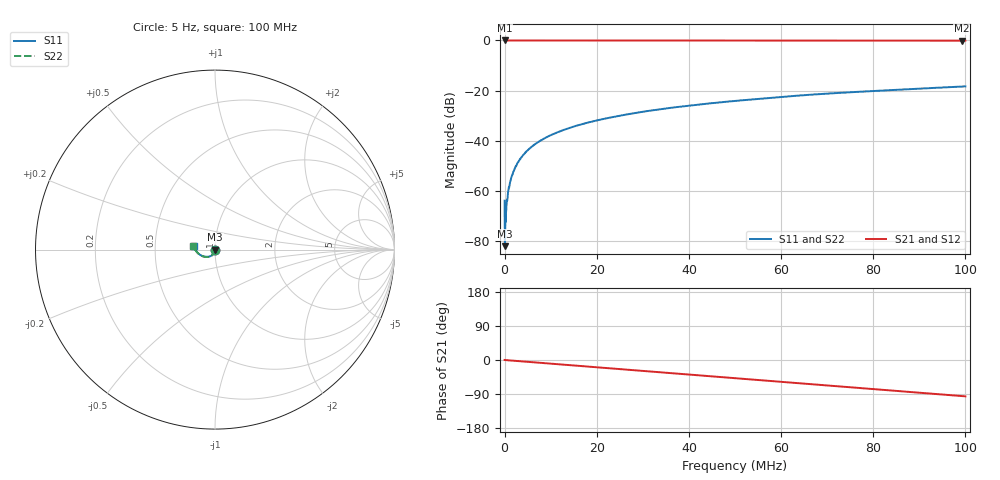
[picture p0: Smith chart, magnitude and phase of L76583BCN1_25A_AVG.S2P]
!Agilent Technologies,E5061B,MY49102235,A.02.00
!Date: Mon Jul 10 16:14:26 2023
!Data & Calibration Information:
!Freq	S11:SOLT2(ON)	S21:SOLT2(ON)	S12:SOLT2(ON)	S22:SOLT2(ON)
# Hz S RI R 50
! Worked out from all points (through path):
!   1600 points, 5 Hz to 100 MHz, reference 50 ohm
!   highest |S21| = 0.02 dB at 5 Hz (marker M1); lowest = -0.1 dB at 99.25 MHz (marker M2)
!   group delay of S21, straight-line fit = 2.66 ns
!   lowest |S11| = -82.0 dB at 62.54 kHz (marker M3), VSWR 1.00, Z = 50 - j0.00361 ohm
!   |S11| at or under -10 dB: start of sweep to end of sweep
!   |S22| runs from -78.2 to -18.3 dB; largest |S21 - S12| = 0.0027
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5  -0.000468 0.000441  1.002 0.00231  1 -2.65e-05  -0.000151 -5.07e-05
62544.08  -7.07e-05 -3.61e-05  1 -0.000989  1 -0.000711  1.75e-05 -0.000122
250161.3  3.48e-05 -0.000241  0.9998 -0.00436  0.9998 -0.00419  3.15e-05 -0.000258
562856.8  0.000103 -0.000628  0.9997 -0.00966  0.9997 -0.00915  6.36e-05 -0.000693
687934.9  2.09e-06 -0.000857  1 -0.0114  1 -0.0116  -2.29e-05 -0.000816
875552.2  -6.45e-05 -0.00113  0.9998 -0.0148  1 -0.0148  -5.29e-05 -0.00111
1063169  -6.17e-05 -0.00128  1 -0.0178  1 -0.018  -3.61e-05 -0.00136
1313326  -8.15e-05 -0.00164  0.9999 -0.0215  0.9992 -0.0219  -8.74e-05 -0.00167
1751099  -2.37e-05 -0.00215  0.9999 -0.0295  0.9992 -0.0293  -9.92e-05 -0.00224
2313951  -0.000116 -0.00296  0.999 -0.039  0.999 -0.0382  -6.39e-05 -0.00301
3689811  -0.000251 -0.00477  0.9981 -0.0619  0.9979 -0.0617  -0.000338 -0.00477
5753601  -0.000608 -0.00744  0.9952 -0.0964  0.9952 -0.0961  -0.000706 -0.00736
8692938  -0.0015 -0.0111  0.9891 -0.1452  0.9892 -0.1448  -0.00172 -0.011
1.250782e7  -0.00323 -0.0158  0.9777 -0.208  0.9778 -0.2079  -0.00331 -0.0156
1.669794e7  -0.00586 -0.0205  0.9608 -0.2759  0.9609 -0.2759  -0.00581 -0.0204
2.445279e7  -0.0126 -0.0283  0.9169 -0.398  0.9166 -0.3981  -0.0125 -0.0286
3.333334e7  -0.023 -0.0352  0.8473 -0.5292  0.8473 -0.529  -0.0226 -0.0359
5.003127e7  -0.0475 -0.0404  0.6676 -0.7416  0.6675 -0.7418  -0.0479 -0.0409
6.672921e7  -0.0765 -0.0332  0.4366 -0.8956  0.4365 -0.8953  -0.0766 -0.0339
8.33646e7  -0.1012 -0.0121  0.173 -0.9791  0.1727 -0.979  -0.1016 -0.0131
9.924953e7  -0.1191 0.0199  -0.089 -0.9882  -0.0893 -0.988  -0.1198 0.0183
1e8  -0.1197 0.0216  -0.1014 -0.9871  -0.1017 -0.9867  -0.1205 0.02
